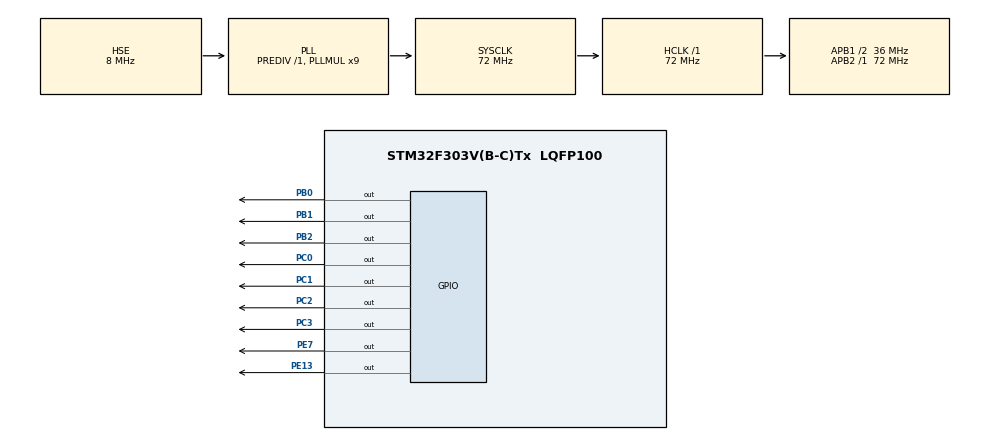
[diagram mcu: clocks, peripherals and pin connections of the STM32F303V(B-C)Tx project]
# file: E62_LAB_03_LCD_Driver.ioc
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Mcu.Family=STM32F3
RCC.PLLSourceVirtual=RCC_PLLSOURCE_HSE
PC15-OSC32_OUT.Mode=LSE-External-Oscillator
RCC.CortexFreq_Value=72000000
RCC.SYSCLKSourceVirtual=RCC_SYSCLKSOURCE_PLLCLK
PC2.Signal=GPIO_Output
PC0.Signal=GPIO_Output
RCC.APB1CLKDivider=RCC_HCLK_DIV2
PC14-OSC32_IN.Signal=RCC_OSC32_IN
ProjectManager.StackSize=0x400
ProjectManager.TargetToolchain=STM32CubeIDE
RCC.HCLKFreq_Value=72000000
RCC.APB2TimFreq_Value=72000000
PC3.Signal=GPIO_Output
RCC.USBFreq_Value=72000000
TIM4.Prescaler=72-1
PC15-OSC32_OUT.Signal=RCC_OSC32_OUT
RCC.AHBFreq_Value=72000000
PF0-OSC_IN.Mode=HSE-External-Clock-Source
RCC.HSE_VALUE=8000000
PB2.Signal=GPIO_Output
board=custom
RCC.PLLMUL=RCC_PLL_MUL9
RCC.APB2Freq_Value=72000000
PE13.Signal=GPIO_Output
PC14-OSC32_IN.Mode=LSE-External-Oscillator
TIM4.Period=0xFFFF-1
Mcu.Name=STM32F303V(B-C)Tx
RCC.SYSCLKFreq_VALUE=72000000
Mcu.Package=LQFP100
PB1.Signal=GPIO_Output
ProjectManager.HeapSize=0x200
RCC.HSI_VALUE=8000000
VP_TIM4_VS_ClockSourceINT.Mode=Internal
NVIC.PriorityGroup=NVIC_PRIORITYGROUP_4
RCC.APB1TimFreq_Value=72000000
PF0-OSC_IN.Signal=RCC_OSC_IN
PE7.Signal=GPIO_Output
RCC.APB1Freq_Value=36000000
PB0.Signal=GPIO_Output
PC1.Signal=GPIO_Output

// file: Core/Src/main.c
/* USER CODE BEGIN Header */
/**
  ******************************************************************************
  * @file           : main.c
  * @brief          : Main program body
  ******************************************************************************
  * @attention
  *
  * <h2><center>&copy; Copyright (c) 2021 STMicroelectronics.
  * All rights reserved.</center></h2>
  *
  * This software component is licensed by ST under BSD 3-Clause license,
  * the "License"; You may not use this file except in compliance with the
  * License. You may obtain a copy of the License at:
  *                        opensource.org/licenses/BSD-3-Clause
  *
  ******************************************************************************
  */
/* USER CODE END Header */
#include "main.h"

TIM_HandleTypeDef htim4;

void SystemClock_Config(void);
static void MX_GPIO_Init(void);
static void MX_TIM4_Init(void);
/* USER CODE BEGIN PFP */

int LedWriteNibble( uint8_t data );
void delay_us (uint16_t us);
int LcdWriteCmd( uint8_t cmd );

/* USER CODE END PFP */

int main(void)
{

  /* MCU Configuration--------------------------------------------------------*/

  /* Reset of all peripherals, Initializes the Flash interface and the Systick. */
  HAL_Init();

  /* Configure the system clock */
  SystemClock_Config();

  /* Initialize all configured peripherals */
  MX_GPIO_Init();
  MX_TIM4_Init();
  /* USER CODE BEGIN 2 */

	HAL_TIM_Base_Start(&htim4);

	HAL_GPIO_WritePin(GPIOB,GPIO_PIN_0,GPIO_PIN_RESET);
	HAL_GPIO_WritePin(GPIOB,GPIO_PIN_1,GPIO_PIN_RESET);
	HAL_GPIO_WritePin(GPIOB,GPIO_PIN_2,GPIO_PIN_RESET);
	HAL_GPIO_WritePin(GPIOE,GPIO_PIN_7,GPIO_PIN_SET);

	HAL_Delay(15);

	LedWriteNibble(0x30);
	HAL_Delay(5);

	LedWriteNibble(0x30);
	delay_us(100);
	//HAL_Delay(1);

	LedWriteNibble(0x30);
	delay_us(100);
	//HAL_Delay(1);

	LedWriteNibble(0x20);
	delay_us(100);
	//HAL_Delay(1);

	LcdWriteCmd(0x28);
	delay_us(39);
	//HAL_Delay(1);

	LcdWriteCmd(0x0F);
	delay_us(39);
	//HAL_Delay(1);

	LcdWriteCmd(0x01);
	HAL_Delay(2);

	LcdWriteCmd(0x06);
	delay_us(39);
	//HAL_Delay(1);

  /* USER CODE END 2 */

  /* Infinite loop */
  while (1)
  {

  }
}

void SystemClock_Config(void)
{
  RCC_OscInitTypeDef RCC_OscInitStruct = {0};
  RCC_ClkInitTypeDef RCC_ClkInitStruct = {0};

  /** Initializes the RCC Oscillators according to the specified parameters
  * in the RCC_OscInitTypeDef structure.
  */
  RCC_OscInitStruct.OscillatorType = RCC_OSCILLATORTYPE_HSE;
  RCC_OscInitStruct.HSEState = RCC_HSE_BYPASS;
  RCC_OscInitStruct.HSEPredivValue = RCC_HSE_PREDIV_DIV1;
  RCC_OscInitStruct.HSIState = RCC_HSI_ON;
  RCC_OscInitStruct.PLL.PLLState = RCC_PLL_ON;
  RCC_OscInitStruct.PLL.PLLSource = RCC_PLLSOURCE_HSE;
  RCC_OscInitStruct.PLL.PLLMUL = RCC_PLL_MUL9;
  if (HAL_RCC_OscConfig(&RCC_OscInitStruct) != HAL_OK)
  {
    Error_Handler();
  }
  /** Initializes the CPU, AHB and APB buses clocks
  */
  RCC_ClkInitStruct.ClockType = RCC_CLOCKTYPE_HCLK|RCC_CLOCKTYPE_SYSCLK
                              |RCC_CLOCKTYPE_PCLK1|RCC_CLOCKTYPE_PCLK2;
  RCC_ClkInitStruct.SYSCLKSource = RCC_SYSCLKSOURCE_PLLCLK;
  RCC_ClkInitStruct.AHBCLKDivider = RCC_SYSCLK_DIV1;
  RCC_ClkInitStruct.APB1CLKDivider = RCC_HCLK_DIV2;
  RCC_ClkInitStruct.APB2CLKDivider = RCC_HCLK_DIV1;

  if (HAL_RCC_ClockConfig(&RCC_ClkInitStruct, FLASH_LATENCY_2) != HAL_OK)
  {
    Error_Handler();
  }
}

static void MX_TIM4_Init(void)
{

  TIM_ClockConfigTypeDef sClockSourceConfig = {0};
  TIM_MasterConfigTypeDef sMasterConfig = {0};

  htim4.Instance = TIM4;
  htim4.Init.Prescaler = 72-1;
  htim4.Init.CounterMode = TIM_COUNTERMODE_UP;
  htim4.Init.Period = 0xFFFF-1;
  htim4.Init.ClockDivision = TIM_CLOCKDIVISION_DIV1;
  htim4.Init.AutoReloadPreload = TIM_AUTORELOAD_PRELOAD_DISABLE;
  if (HAL_TIM_Base_Init(&htim4) != HAL_OK)
  {
    Error_Handler();
  }
  sClockSourceConfig.ClockSource = TIM_CLOCKSOURCE_INTERNAL;
  if (HAL_TIM_ConfigClockSource(&htim4, &sClockSourceConfig) != HAL_OK)
  {
    Error_Handler();
  }
  sMasterConfig.MasterOutputTrigger = TIM_TRGO_RESET;
  sMasterConfig.MasterSlaveMode = TIM_MASTERSLAVEMODE_DISABLE;
  if (HAL_TIMEx_MasterConfigSynchronization(&htim4, &sMasterConfig) != HAL_OK)
  {
    Error_Handler();
  }

}

static void MX_GPIO_Init(void)
{
  GPIO_InitTypeDef GPIO_InitStruct = {0};

  /* GPIO Ports Clock Enable */
  __HAL_RCC_GPIOC_CLK_ENABLE();
  __HAL_RCC_GPIOF_CLK_ENABLE();
  __HAL_RCC_GPIOB_CLK_ENABLE();
  __HAL_RCC_GPIOE_CLK_ENABLE();

  /*Configure GPIO pin Output Level */
  HAL_GPIO_WritePin(GPIOC, GPIO_PIN_0|GPIO_PIN_1|GPIO_PIN_2|GPIO_PIN_3, GPIO_PIN_RESET);

  /*Configure GPIO pin Output Level */
  HAL_GPIO_WritePin(GPIOB, GPIO_PIN_0|GPIO_PIN_1|GPIO_PIN_2, GPIO_PIN_RESET);

  /*Configure GPIO pin Output Level */
  HAL_GPIO_WritePin(GPIOE, GPIO_PIN_7|GPIO_PIN_13, GPIO_PIN_RESET);

  /*Configure GPIO pins : PC0 PC1 PC2 PC3 */
  GPIO_InitStruct.Pin = GPIO_PIN_0|GPIO_PIN_1|GPIO_PIN_2|GPIO_PIN_3;
  GPIO_InitStruct.Mode = GPIO_MODE_OUTPUT_PP;
  GPIO_InitStruct.Pull = GPIO_NOPULL;
  GPIO_InitStruct.Speed = GPIO_SPEED_FREQ_LOW;
  HAL_GPIO_Init(GPIOC, &GPIO_InitStruct);

  /*Configure GPIO pins : PB0 PB1 PB2 */
  GPIO_InitStruct.Pin = GPIO_PIN_0|GPIO_PIN_1|GPIO_PIN_2;
  GPIO_InitStruct.Mode = GPIO_MODE_OUTPUT_PP;
  GPIO_InitStruct.Pull = GPIO_NOPULL;
  GPIO_InitStruct.Speed = GPIO_SPEED_FREQ_LOW;
  HAL_GPIO_Init(GPIOB, &GPIO_InitStruct);

  /*Configure GPIO pins : PE7 PE13 */
  GPIO_InitStruct.Pin = GPIO_PIN_7|GPIO_PIN_13;
  GPIO_InitStruct.Mode = GPIO_MODE_OUTPUT_PP;
  GPIO_InitStruct.Pull = GPIO_NOPULL;
  GPIO_InitStruct.Speed = GPIO_SPEED_FREQ_LOW;
  HAL_GPIO_Init(GPIOE, &GPIO_InitStruct);

}

/* USER CODE BEGIN 4 */

int LedWriteNibble( uint8_t data ) {

	int i[6] = {0,0,0,0,0,0};

	i[0] = (data & 0x80) >> 7;
	i[1] = (data & 0x40) >> 6;
	i[2] = (data & 0x20) >> 5;
	i[3] = (data & 0x10) >> 4;

	HAL_GPIO_WritePin(GPIOC,GPIO_PIN_3,i[0] ? GPIO_PIN_SET : GPIO_PIN_RESET);
	HAL_GPIO_WritePin(GPIOC,GPIO_PIN_2,i[1] ? GPIO_PIN_SET : GPIO_PIN_RESET);
	HAL_GPIO_WritePin(GPIOC,GPIO_PIN_1,i[2] ? GPIO_PIN_SET : GPIO_PIN_RESET);
	HAL_GPIO_WritePin(GPIOC,GPIO_PIN_0,i[3] ? GPIO_PIN_SET : GPIO_PIN_RESET);

	HAL_GPIO_WritePin(GPIOB,GPIO_PIN_2,GPIO_PIN_SET);
	HAL_GPIO_WritePin(GPIOB,GPIO_PIN_2,GPIO_PIN_RESET);

	return 0;
}

int LcdWriteCmd( uint8_t cmd ) {

	HAL_GPIO_WritePin(GPIOB,GPIO_PIN_0,GPIO_PIN_RESET);
	HAL_GPIO_WritePin(GPIOB,GPIO_PIN_1,GPIO_PIN_RESET);

	LedWriteNibble(cmd & 0xF0);
	LedWriteNibble(cmd << 4);

	return 0;
}

void delay_us (uint16_t us){
	__HAL_TIM_SET_COUNTER(&htim4,0);  // set the counter value a 0
	while (__HAL_TIM_GET_COUNTER(&htim4) < us);  // wait for the counter to reach the us input in the parameter
}

/* USER CODE END 4 */

void Error_Handler(void)
{
}

/************************ (C) COPYRIGHT STMicroelectronics *****END OF FILE****/
